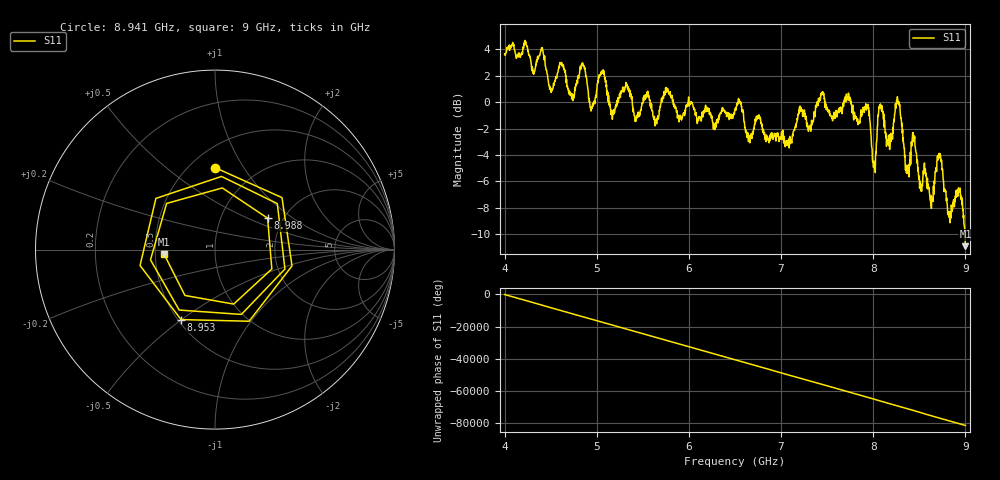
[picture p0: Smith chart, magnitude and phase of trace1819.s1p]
! Created with skrf 1.8.0 (http://scikit-rf.org).
# Hz S RI R 50.0
!freq ReS11 ImS11
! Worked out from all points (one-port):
!   1601 points, 4 GHz to 9 GHz, reference 50 ohm
!   lowest |S11| = -10.9 dB at 9 GHz (marker M1), VSWR 1.80, Z = 27.9 - j1.57 ohm
!   |S11| at or under -10 dB: 8.994895 GHz to end of sweep
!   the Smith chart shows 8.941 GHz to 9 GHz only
!   S11 on the Smith chart (normalised r, x): 8.941 GHz: 0.65, +0.76; 8.953 GHz: 0.52, -0.50; 8.988 GHz: 1.67, +0.66; 9 GHz: 0.56, -0.03
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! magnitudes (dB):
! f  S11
! 4 GHz  3.7
! 4.409 GHz  4.1
! 4.503 GHz  0.7
! 4.625 GHz  2.7
! 4.728 GHz  0.2
! 4.847 GHz  3.0
! 4.938 GHz  -0.7
! 5.053 GHz  2.3
! 5.166 GHz  -0.6
! 5.25 GHz  0.5
! 5.875 GHz  -1.2
! 6.5 GHz  -0.6
! 7.125 GHz  -2.4
! 7.75 GHz  0.1
! 7.938 GHz  -0.3
! 8.006 GHz  -4.5
! 8.075 GHz  -0.3
! 8.169 GHz  -2.8
! 8.266 GHz  0.1
! 8.375 GHz  -5.0
! 8.438 GHz  -3.0
! 8.625 GHz  -7.8
! 8.716 GHz  -4.2
! 8.819 GHz  -8.4
! 8.941 GHz  -6.8
! 8.953 GHz  -7.3
! 8.988 GHz  -9.3
! 9 GHz  -10.9
